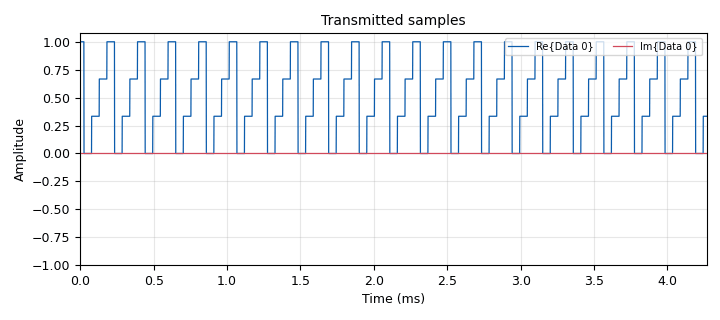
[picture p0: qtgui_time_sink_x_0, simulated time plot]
options:
  parameters:
    generate_options: qt_gui
    id: ASK_loopback_jupiter
    output_language: python
    title: ASK_loopback_jupiter
  states: {}

blocks:
- name: buff_size
  id: variable
  parameters:
    value: int(32768)
  states: {}
- name: gain_control_mode_rx0
  id: variable
  parameters:
    value: '''spi'''
  states: {}
- name: hardwaregain_rx0
  id: variable_qtgui_range
  parameters:
    label: Rx Gain [dBfs]
    start: '0'
    step: '1'
    stop: '34'
    value: '20'
  states: {}
- name: hardwaregain_tx0
  id: variable_qtgui_range
  parameters:
    label: Tx Attenuation [dBfs]
    start: '-41'
    step: '1'
    stop: '0'
    value: '0'
  states: {}
- name: interval_update
  id: variable
  parameters:
    value: int(0)
  states: {}
- name: jupiter_ip
  id: variable_config
  parameters:
    config_file: default
    option: key
    section: main
    type: string
    value: ip:jupiter.local
    writeback: None
  states: {}
- name: lo_offset
  id: variable
  parameters:
    value: int(0)
  states: {}
- name: offset_tx
  id: variable_qtgui_range
  parameters:
    gui_hint: (0,0,1,2)
    label: Tx Offset
    start: '0'
    step: '1'
    stop: '250000'
    value: '100000'
  states: {}
- name: rx_lo_freq
  id: variable
  parameters:
    value: int(3200000000)
  states: {}
- name: samp_rate
  id: variable
  parameters:
    value: '1920000'
  states: {}
- name: sps
  id: variable
  parameters:
    value: '100'
  states: {}
- name: tx_lo_freq
  id: variable
  parameters:
    value: int(3200000000+ lo_offset)
  states: {}
- name: analog_sig_source_x_0
  id: analog_sig_source_x
  parameters:
    amp: '1'
    freq: offset_tx
    offset: '0'
    phase: '0'
    samp_rate: samp_rate
    type: complex
    waveform: analog.GR_COS_WAVE
  states: {}
- name: blocks_complex_to_imag_0_4_0
  id: blocks_complex_to_imag
  parameters: {}
  states: {}
- name: blocks_complex_to_mag_0
  id: blocks_complex_to_mag
  parameters: {}
  states: {}
- name: blocks_complex_to_real_0_4_0
  id: blocks_complex_to_real
  parameters: {}
  states: {}
- name: blocks_float_to_complex_0
  id: blocks_float_to_complex
  parameters: {}
  states: {}
- name: blocks_float_to_short_0_0_4_0
  id: blocks_float_to_short
  parameters:
    scale: '32767'
  states: {}
- name: blocks_float_to_short_0_5_0
  id: blocks_float_to_short
  parameters:
    scale: '32767'
  states: {}
- name: blocks_keep_one_in_n_0
  id: blocks_keep_one_in_n
  parameters:
    n: sps
    type: float
  states: {}
- name: blocks_multiply_xx_0
  id: blocks_multiply_xx
  parameters:
    type: complex
  states: {}
- name: blocks_repeat_0
  id: blocks_repeat
  parameters:
    interp: sps
    type: complex
  states: {}
- name: blocks_short_to_float_0
  id: blocks_short_to_float
  parameters:
    scale: '32767'
  states: {}
- name: blocks_short_to_float_0_1
  id: blocks_short_to_float
  parameters:
    scale: '32767'
  states: {}
- name: blocks_vector_source_x_0
  id: blocks_vector_source_x
  parameters:
    repeat: 'True'
    type: complex
    vector: (0.0, 1.0/3.0, 2.0/3.0, 1.0)
  states: {}
- name: iio_attr_sink_0
  id: iio_attr_sink
  parameters:
    attr_type: '0'
    channel: voltage0
    device: adrv9002-phy
    output: 'False'
    uri: jupiter_ip
  states: {}
- name: iio_attr_sink_0_0
  id: iio_attr_sink
  parameters:
    attr_type: '0'
    channel: voltage1
    device: adrv9002-phy
    output: 'False'
    uri: jupiter_ip
  states: {}
- name: iio_attr_sink_0_0_0
  id: iio_attr_sink
  parameters:
    attr_type: '0'
    channel: voltage1
    device: adrv9002-phy
    output: 'True'
    uri: jupiter_ip
  states: {}
- name: iio_attr_sink_0_1
  id: iio_attr_sink
  parameters:
    attr_type: '0'
    channel: voltage0
    device: adrv9002-phy
    output: 'True'
    uri: jupiter_ip
  states: {}
- name: iio_attr_sink_0_1_0
  id: iio_attr_sink
  parameters:
    attr_type: '0'
    channel: altvoltage0
    device: adrv9002-phy
    output: 'True'
    uri: jupiter_ip
  states: {}
- name: iio_attr_sink_0_1_0_0
  id: iio_attr_sink
  parameters:
    attr_type: '0'
    channel: altvoltage2
    device: adrv9002-phy
    output: 'True'
    uri: jupiter_ip
  states: {}
- name: iio_attr_sink_0_1_0_1
  id: iio_attr_sink
  parameters:
    attr_type: '0'
    channel: voltage0
    device: adrv9002-phy
    output: 'False'
    uri: jupiter_ip
  states: {}
- name: iio_attr_sink_0_1_1
  id: iio_attr_sink
  parameters:
    attr_type: '0'
    channel: voltage0
    device: adrv9002-phy
    output: 'True'
    uri: jupiter_ip_rx
  states: {state: disabled}
- name: iio_attr_sink_0_2
  id: iio_attr_sink
  parameters:
    attr_type: '0'
    channel: voltage0
    device: adrv9002-phy
    output: 'False'
    uri: jupiter_ip
  states: {state: disabled}
- name: iio_attr_updater_0
  id: iio_attr_updater
  parameters:
    attr: hardwaregain
    interval: interval_update
    value: str(hardwaregain_rx0)
  states: {}
- name: iio_attr_updater_0_0
  id: iio_attr_updater
  parameters:
    attr: hardwaregain
    interval: interval_update
    value: str(0)
  states: {}
- name: iio_attr_updater_0_0_0
  id: iio_attr_updater
  parameters:
    attr: hardwaregain
    interval: interval_update
    value: str(-40)
  states: {}
- name: iio_attr_updater_0_1
  id: iio_attr_updater
  parameters:
    attr: hardwaregain
    interval: interval_update
    value: str(hardwaregain_tx0)
  states: {}
- name: iio_attr_updater_0_1_0
  id: iio_attr_updater
  parameters:
    attr: frequency
    interval: interval_update
    value: str(rx_lo_freq)
  states: {}
- name: iio_attr_updater_0_1_0_0
  id: iio_attr_updater
  parameters:
    attr: frequency
    interval: interval_update
    value: str(tx_lo_freq)
  states: {}
- name: iio_attr_updater_0_1_0_1
  id: iio_attr_updater
  parameters:
    attr: gain_control_mode
    interval: interval_update
    value: gain_control_mode_rx0
  states: {}
- name: iio_attr_updater_0_1_1
  id: iio_attr_updater
  parameters:
    attr: hardwaregain
    interval: interval_update
    value: '-40'
  states: {state: disabled}
- name: iio_attr_updater_0_2
  id: iio_attr_updater
  parameters:
    attr: hardwaregain
    interval: interval_update
    value: '0'
  states: {state: disabled}
- name: iio_device_sink_0_1
  id: iio_device_sink
  parameters:
    buffer_size: buff_size
    channels: '[''voltage0'',''voltage1'']'
    cyclic: 'False'
    device: axi-adrv9002-tx-lpc
    device_phy: adrv9002-phy
    interpolation: '1'
    params: '[]'
    uri: jupiter_ip
  states: {}
- name: iio_device_source_0
  id: iio_device_source
  parameters:
    buffer_size: buff_size
    channels: '[''voltage0_i'',''voltage0_q'']'
    decimation: '1'
    device: axi-adrv9002-rx-lpc
    device_phy: adrv9002-phy
    params: '[]'
    uri: jupiter_ip
  states: {}
- name: qtgui_const_sink_x_0
  id: qtgui_const_sink_x
  parameters:
    grid: 'True'
    gui_hint: (3,1,1,1)
    name: '"Received constellation"'
    size: '1024'
    type: complex
    update_time: '0.50'
  states: {}
- name: qtgui_freq_sink_x_0
  id: qtgui_freq_sink_x
  parameters:
    bw: samp_rate
    fc: '0'
    fftsize: '8192'
    grid: 'True'
    gui_hint: (3,0,1,1)
    name: '"Received spectrum"'
    type: complex
  states: {}
- name: qtgui_time_sink_x_0
  id: qtgui_time_sink_x
  parameters:
    grid: 'True'
    gui_hint: (1,0,1,2)
    name: '"Transmitted samples"'
    size: 1024*8
    srate: samp_rate
    type: complex
  states: {}
- name: qtgui_time_sink_x_1
  id: qtgui_time_sink_x
  parameters:
    grid: 'True'
    gui_hint: (2,0,1,2)
    name: '"Received Samples"'
    size: 1024*8
    srate: samp_rate
    type: complex
  states: {}
- name: qtgui_time_sink_x_2
  id: qtgui_time_sink_x
  parameters:
    grid: 'True'
    gui_hint: (4,0,1,1)
    marker1: '0'
    name: '"Magnitude Rx"'
    size: 1024*8
    srate: samp_rate
    type: float
  states: {}
- name: qtgui_time_sink_x_2_0
  id: qtgui_time_sink_x
  parameters:
    grid: 'True'
    gui_hint: (4,1,1,1)
    marker1: '0'
    name: '"1 in 100 Magnitude Rx"'
    size: '100'
    srate: samp_rate
    type: float
  states: {}

connections:
- [analog_sig_source_x_0, '0', blocks_multiply_xx_0, '1']
- [blocks_complex_to_imag_0_4_0, '0', blocks_float_to_short_0_0_4_0, '0']
- [blocks_complex_to_mag_0, '0', blocks_keep_one_in_n_0, '0']
- [blocks_complex_to_mag_0, '0', qtgui_time_sink_x_2, '0']
- [blocks_complex_to_real_0_4_0, '0', blocks_float_to_short_0_5_0, '0']
- [blocks_float_to_complex_0, '0', blocks_complex_to_mag_0, '0']
- [blocks_float_to_complex_0, '0', qtgui_const_sink_x_0, '0']
- [blocks_float_to_complex_0, '0', qtgui_freq_sink_x_0, '0']
- [blocks_float_to_complex_0, '0', qtgui_time_sink_x_1, '0']
- [blocks_float_to_short_0_0_4_0, '0', iio_device_sink_0_1, '1']
- [blocks_float_to_short_0_5_0, '0', iio_device_sink_0_1, '0']
- [blocks_keep_one_in_n_0, '0', qtgui_time_sink_x_2_0, '0']
- [blocks_multiply_xx_0, '0', blocks_complex_to_imag_0_4_0, '0']
- [blocks_multiply_xx_0, '0', blocks_complex_to_real_0_4_0, '0']
- [blocks_repeat_0, '0', blocks_multiply_xx_0, '0']
- [blocks_repeat_0, '0', qtgui_time_sink_x_0, '0']
- [blocks_short_to_float_0, '0', blocks_float_to_complex_0, '0']
- [blocks_short_to_float_0_1, '0', blocks_float_to_complex_0, '1']
- [blocks_vector_source_x_0, '0', blocks_repeat_0, '0']
- [iio_attr_updater_0, out, iio_attr_sink_0, attr]
- [iio_attr_updater_0_0, out, iio_attr_sink_0_0, attr]
- [iio_attr_updater_0_0_0, out, iio_attr_sink_0_0_0, attr]
- [iio_attr_updater_0_1, out, iio_attr_sink_0_1, attr]
- [iio_attr_updater_0_1_0, out, iio_attr_sink_0_1_0, attr]
- [iio_attr_updater_0_1_0_0, out, iio_attr_sink_0_1_0_0, attr]
- [iio_attr_updater_0_1_0_1, out, iio_attr_sink_0_1_0_1, attr]
- [iio_attr_updater_0_1_1, out, iio_attr_sink_0_1_1, attr]
- [iio_attr_updater_0_2, out, iio_attr_sink_0_2, attr]
- [iio_device_source_0, '0', blocks_short_to_float_0, '0']
- [iio_device_source_0, '1', blocks_short_to_float_0_1, '0']

metadata:
  file_format: 1
  grc_version: v3.10.11.0-1-gee27d6f3
